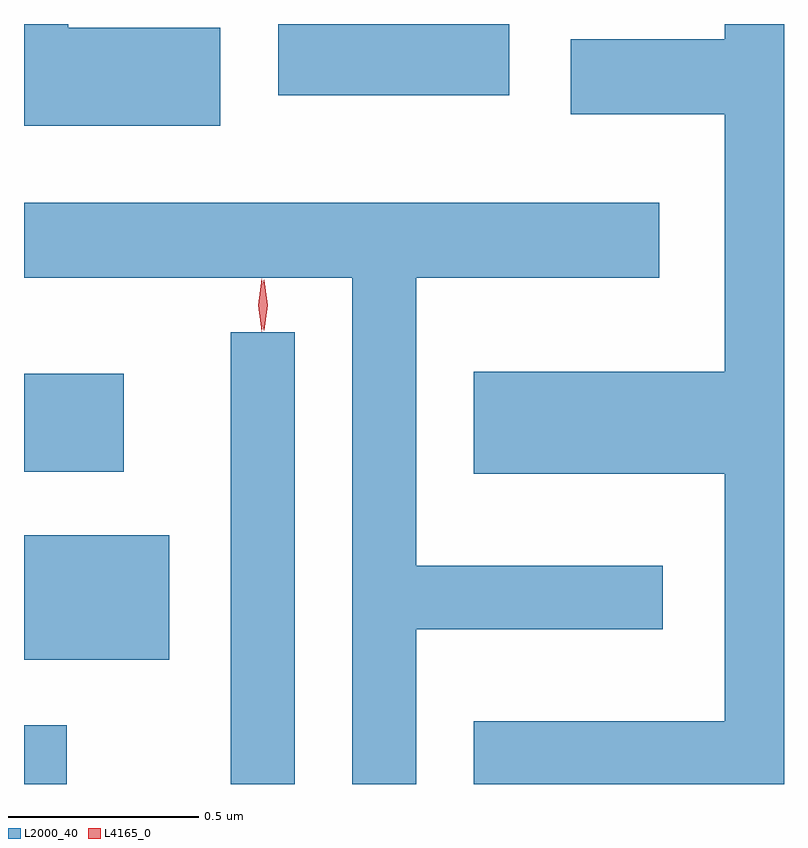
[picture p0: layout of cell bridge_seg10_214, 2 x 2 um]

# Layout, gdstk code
import gdstk
lib = gdstk.Library(unit=1e-6, precision=1e-09)
def R(c, l, rs):  # rectangles x0, y0, x1, y1
    for r in rs: c.add(gdstk.rectangle(r[:2], r[2:], *l))
def P(c, l, *ps):  # polygons
    for p in ps: c.add(gdstk.Polygon(p, *l))
L2000_40 = (2000, 40)
L4165_0 = (4165, 0)

bridge_seg10_214 = lib.new_cell('bridge_seg10_214')
R(bridge_seg10_214, L2000_40, [(1886.887,2140.984,1886.999,2141.139), (1887.431,2140.984,1887.599,2142.173), (1886.887,2141.311,1887.269,2141.639), (1886.887,2141.806,1887.149,2142.064), (1887.556,2142.796,1888.164,2142.984)])
P(bridge_seg10_214, L2000_40, [(1888.887,2142.984),(1888.731,2142.984),(1888.731,2142.944),(1888.326,2142.944),(1888.326,2142.746),(1888.731,2142.746),(1888.731,2142.069),(1888.071,2142.069),(1888.071,2141.801),(1888.731,2141.801),(1888.731,2141.149),(1888.071,2141.149),(1888.071,2140.984),(1888.887,2140.984)],
  [(1887.404,2142.974),(1887.004,2142.974),(1887.004,2142.984),(1886.887,2142.984),(1886.887,2142.716),(1887.404,2142.716)],
  [(1887.919,2141.391),(1888.568,2141.391),(1888.568,2141.559),(1887.919,2141.559),(1887.919,2142.316),(1888.559,2142.316),(1888.559,2142.514),(1886.887,2142.514),(1886.887,2142.316),(1887.751,2142.316),(1887.751,2140.984),(1887.919,2140.984)])
P(bridge_seg10_214, L4165_0, [(1887.518,2142.178),(1887.518,2142.178),(1887.508,2142.244),(1887.518,2142.31),(1887.519,2142.311),(1887.519,2142.31),(1887.528,2142.244),(1887.519,2142.178)],
  [(1887.513,2142.174),(1887.512,2142.175),(1887.503,2142.244),(1887.512,2142.313),(1887.513,2142.314),(1887.513,2142.313),(1887.523,2142.244),(1887.513,2142.175)])

lib.write_gds('bridge_seg10_214.gds')
